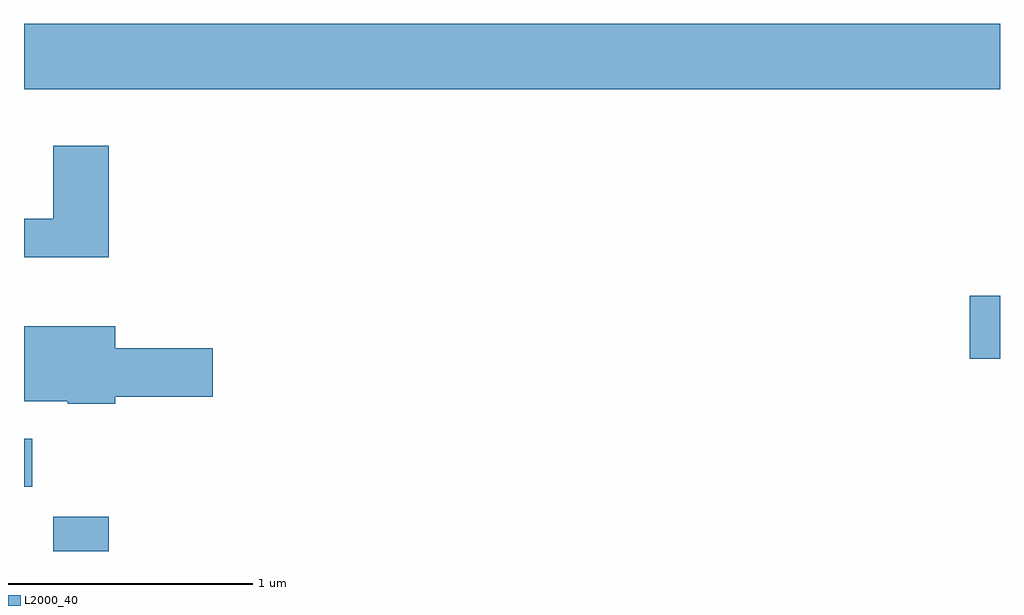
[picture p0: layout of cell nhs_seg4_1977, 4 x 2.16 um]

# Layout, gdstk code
import gdstk
lib = gdstk.Library(unit=1e-6, precision=1e-09)
def R(c, l, rs):  # rectangles x0, y0, x1, y1
    for r in rs: c.add(gdstk.rectangle(r[:2], r[2:], *l))
def P(c, l, *ps):  # polygons
    for p in ps: c.add(gdstk.Polygon(p, *l))
L2000_40 = (2000, 40)

nhs_seg4_1977 = lib.new_cell('nhs_seg4_1977')
R(nhs_seg4_1977, L2000_40, [(243.731,1263.982,243.959,1264.124), (243.611,1264.246,243.644,1264.444), (247.486,1264.771,247.611,1265.029), (243.611,1265.876,247.611,1266.144)])
P(nhs_seg4_1977, L2000_40, [(243.959,1265.644),(243.731,1265.644),(243.731,1265.344),(243.611,1265.344),(243.611,1265.186),(243.959,1265.186)],
  [(243.984,1264.616),(244.384,1264.616),(244.384,1264.814),(243.984,1264.814),(243.984,1264.904),(243.611,1264.904),(243.611,1264.596),(243.79,1264.596),(243.79,1264.586),(243.984,1264.586)])

lib.write_gds('nhs_seg4_1977.gds')
